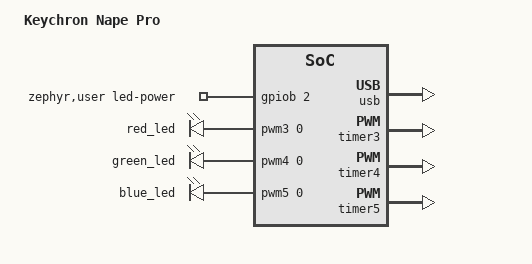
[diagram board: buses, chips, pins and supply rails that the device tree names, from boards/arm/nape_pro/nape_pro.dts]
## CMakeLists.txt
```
cmake_minimum_required(VERSION 3.20)
list(APPEND BOARD_ROOT ${CMAKE_CURRENT_SOURCE_DIR})
find_package(Zephyr REQUIRED HINTS $ENV{ZEPHYR_BASE})
project(nape_maintenance)
zephyr_include_directories(include)
target_sources(app PRIVATE src/main.c src/service.c src/indicator.c src/indicator_color.c
  src/input_engine.c)
if(NAPE_MAIN)
  target_compile_definitions(app PRIVATE NAPE_MAIN=1)
  target_include_directories(app PRIVATE drivers/vendor)
  target_sources(app PRIVATE src/profile_config.c src/config_store.c src/profile_history.c src/runtime.c src/motion_processor.c
    src/report_transport.c drivers/board_input.c drivers/paw3222.c drivers/vendor/rtl_spi3w.c)
endif()
if(CONFIG_REALTEK_PPT)
  set(RF_VENDOR ${CMAKE_CURRENT_SOURCE_DIR}/radio/vendor/realtek)
  target_sources(app PRIVATE radio/radio_link.c radio/stock_codec.c
    ${RF_VENDOR}/common/ppt_driver.c ${RF_VENDOR}/simple/ppt_simple.c)
  target_include_directories(app PRIVATE radio ${RF_VENDOR}/common
    ${RF_VENDOR}/common/rtl87x2g ${RF_VENDOR}/simple)
  target_compile_definitions(app PRIVATE CONFIG_PPT_DRIVER_LOG_LEVEL=0)
endif()
```

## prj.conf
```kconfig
CONFIG_USB_DEVICE_STACK=y
CONFIG_USB_DEVICE_HID=y
CONFIG_ENABLE_HID_INT_OUT_EP=y
CONFIG_HID_INTERRUPT_EP_MPS=64
CONFIG_USB_HID_POLL_INTERVAL_MS=1
CONFIG_USB_DEVICE_VID=0x3434
CONFIG_USB_DEVICE_PID=0x0440
CONFIG_USB_DEVICE_PRODUCT="Nape Pro Maintenance"
CONFIG_USB_DEVICE_MANUFACTURER="Nape custom firmware"
CONFIG_USB_DEVICE_INITIALIZE_AT_BOOT=n
CONFIG_FLASH=y
CONFIG_PWM=y
CONFIG_GPIO=y
CONFIG_TINYCRYPT=y
CONFIG_TINYCRYPT_SHA256=y
CONFIG_BT=n
CONFIG_REALTEK_BT=n
CONFIG_USB_DEVICE_SN="NapeMaintenance01"
CONFIG_SETTINGS=n
CONFIG_NVS=n
CONFIG_CONSOLE=n
CONFIG_MAIN_STACK_SIZE=6144
CONFIG_SYSTEM_WORKQUEUE_STACK_SIZE=2048
CONFIG_HEAP_MEM_POOL_SIZE=8192
```

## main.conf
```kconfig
CONFIG_USB_HID_DEVICE_COUNT=2
CONFIG_USB_DEVICE_PRODUCT="Nape Pro Custom"
CONFIG_USB_DEVICE_SN="NapeCustomMain01"
CONFIG_SYS_CLOCK_TICKS_PER_SEC=1000
```

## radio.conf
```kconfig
CONFIG_REALTEK_PPT=y
CONFIG_REALTEK_USING_PPT_SYNC_SKN=n
CONFIG_REALTEK_USING_PPT_SYNC_MASTER=n
CONFIG_LOG=y
CONFIG_LOG_MODE_DEFERRED=y
CONFIG_LOG_BUFFER_SIZE=512
CONFIG_MINIMAL_LIBC_RAND=y
```

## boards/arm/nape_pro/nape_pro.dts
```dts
/dts-v1/;
#include <realtek/rtl87x2g.dtsi>
#include <zephyr/dt-bindings/pwm/pwm.h>
#include <zephyr/dt-bindings/gpio/gpio.h>
/ {
    zephyr,user {
        /* Stock LED init/output path: GPIOB bit 2, physical pad P3_5. */
        led-power-gpios = <&gpiob 2 GPIO_ACTIVE_HIGH>;
    };
    leds {
        compatible = "pwm-leds";
        red_led: red { pwms = <&pwm3 0 250000 PWM_POLARITY_INVERTED>; };
        green_led: green { pwms = <&pwm4 0 250000 PWM_POLARITY_INVERTED>; };
        blue_led: blue { pwms = <&pwm5 0 250000 PWM_POLARITY_INVERTED>; };
    };
    model = "Keychron Nape Pro";
    compatible = "keychron,nape-pro";
    chosen {
        zephyr,sram = &ram_data;
        zephyr,flash = &flash;
        zephyr,itcm = &ram_code;
        zephyr,code-partition = &app_partition;
        zephyr,flash-controller = &fmc;
    };
};
&cpu { clock-frequency = <40000000>; };
&usb { status = "okay"; };
&gpiob { status = "okay"; };
&gpioa { status = "okay"; };
&pinctrl {
    led_pwm3: led-pwm3 {
        group1 { psels = <RTL87X2G_PSEL(TIMER_PWM3, P0_4, DIR_OUT, DRV_LOW, PULL_DOWN)>; };
    };
    led_pwm4: led-pwm4 {
        group1 { psels = <RTL87X2G_PSEL(TIMER_PWM4, P1_0, DIR_OUT, DRV_LOW, PULL_DOWN)>; };
    };
    led_pwm5: led-pwm5 {
        group1 { psels = <RTL87X2G_PSEL(TIMER_PWM5, P1_1, DIR_OUT, DRV_LOW, PULL_DOWN)>; };
    };
};
&timer3 {
    status = "okay";
    prescaler = <1>;
    pwm3: pwm3 {
        status = "okay";
        pinctrl-0 = <&led_pwm3>;
        pinctrl-names = "default";
    };
};
&timer4 {
    status = "okay";
    prescaler = <1>;
    pwm4: pwm4 {
        status = "okay";
        pinctrl-0 = <&led_pwm4>;
        pinctrl-names = "default";
    };
};
&timer5 {
    status = "okay";
    prescaler = <1>;
    pwm5: pwm5 {
        status = "okay";
        pinctrl-0 = <&led_pwm5>;
        pinctrl-names = "default";
    };
};
&flash {
    partitions {
        compatible = "fixed-partitions";
        #address-cells = <1>;
        #size-cells = <1>;
        app_partition: partition@2d000 { label = "application"; reg = <0x2d000 0x5c000>; };
        journal: partition@89000 { label = "migration"; reg = <0x89000 0x1000>; };
        staging: partition@9c000 { label = "ota"; reg = <0x9c000 0x59000>; };
        userdata: partition@f5000 { label = "userdata"; reg = <0xf5000 0xb000>; };
    };
};
```

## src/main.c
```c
#include "indicator.h"
#include "service.h"
#include <flash_nor_device.h>
#include <patch_header_check.h>
#include <string.h>
#include <wdt/inc/rtl_wdt.h>
#include <zephyr/kernel.h>
#include <zephyr/usb/class/usb_hid.h>
#include <zephyr/usb/usb_device.h>
#ifdef NAPE_MAIN
#include "board_input.h"
#include "runtime.h"
static bool recovery_mode;
#endif
#if defined(CONFIG_UART_CONSOLE)
#include <zephyr/sys/printk.h>
#define BOOT_LOG(...) printk(__VA_ARGS__)
#else
#define BOOT_LOG(...) ((void)0)
#endif

#define FLASH_BASE 0x04000000u
/* Realtek boot ROM entry used by the stock updater for activation. */
extern void chip_reset(WDTMode_TypeDef mode);
static bool layout_matches;
static const uint8_t descriptor[] = {
    0x06, 0x5d, 0xff, 0x09, 1, 0xa1, 1, 0x15, 0, 0x26, 0xff, 0,   0x75,
    8,    0x95, 64,   0x09, 2, 0x81, 2, 0x09, 3, 0x91, 2,    0xc0};
K_MSGQ_DEFINE(requests, sizeof(struct packet), 2, 4);
K_SEM_DEFINE(sent, 0, 1);
static atomic_t epoch;
bool board_layout_ok(void) { return layout_matches; }
static bool inside(uint32_t a, size_t n, uint32_t base, uint32_t size) {
  return a >= base && a - base < size && n <= size - (a - base);
}
static bool permitted(uint32_t a, size_t n) {
  return inside(a, n, JOURNAL, SECTOR) || inside(a, n, USER_BASE, USER_LEN) ||
         inside(a, n, OTA_BASE, OTA_LEN);
}
bool board_read(uint32_t a, void *out, size_t n) {
  return permitted(a, n) &&
         flash_nor_read_locked(FLASH_BASE + a, out, n) == FLASH_NOR_RET_SUCCESS;
}
bool board_write(uint32_t a, const void *input, size_t n) {
  if (!layout_matches || !permitted(a, n))
    return false;
  const uint8_t *src = input;
  uint8_t data[256], verify[256];
  while (n) {
    size_t count = MIN(n, 256u - (a & 255u));
    memcpy(data, src, count); /* ROM writer requires a RAM source. */
    if (flash_nor_write_locked(FLASH_BASE + a, data, count) !=
            FLASH_NOR_RET_SUCCESS ||
        !board_read(a, verify, count) || memcmp(data, verify, count))
      return false;
    a += count;
    src += count;
    n -= count;
  }
  return true;
}
bool board_erase(uint32_t a) {
  if (!layout_matches || (a & (SECTOR - 1)) || !permitted(a, SECTOR))
    return false;
  unsigned key = irq_lock();
  FLASH_NOR_RET_TYPE rc =
      flash_nor_erase_locked(FLASH_BASE + a, FLASH_NOR_ERASE_SECTOR);
  irq_unlock(key);
  if (rc != FLASH_NOR_RET_SUCCESS)
    return false;
  uint8_t check[256];
  for (size_t i = 0; i < SECTOR; i += sizeof(check)) {
    if (!board_read(a + i, check, sizeof(check)))
      return false;
    for (size_t k = 0; k < sizeof(check); k++)
      if (check[k] != 0xff)
        return false;
  }
  return true;
}
static void received(const struct device *dev) {
  struct packet p;
  uint32_t count = 0;
  if (!hid_int_ep_read(dev, (uint8_t *)&p, sizeof(p), &count) &&
      count == sizeof(p))
    k_msgq_put(&requests, &p, K_NO_WAIT);
}
static void transmitted(const struct device *dev) {
  ARG_UNUSED(dev);
  k_sem_give(&sent);
}
static void usb_status(enum usb_dc_status_code status, const uint8_t *param) {
  ARG_UNUSED(param);
#ifdef NAPE_MAIN
  if (status == USB_DC_CONFIGURED)
    nape_runtime_usb(true);
  if (status == USB_DC_RESET || status == USB_DC_DISCONNECTED)
    nape_runtime_usb(false);
#endif
  if (status == USB_DC_RESET || status == USB_DC_DISCONNECTED) {
    atomic_inc(&epoch);
    k_msgq_purge(&requests);
  }
}
static const struct hid_ops ops = {.int_out_ready = received,
                                   .int_in_ready = transmitted};
int main(void) {
#ifdef NAPE_MAIN
  recovery_mode = nape_recovery_chord();
  if (recovery_mode)
    nape_runtime_recovery();
#endif
  BOOT_LOG("NAPE main: checking ROM layout\n");
  layout_matches = supported_layout(
      is_ota_support_bank_switch(), get_header_addr_by_img_id(IMG_MCUAPP),
      get_active_bank_image_size_by_img_id(IMG_MCUAPP),
      flash_nor_get_bank_addr(FLASH_OTA_TMP),
      flash_nor_get_bank_size(FLASH_OTA_TMP),
      flash_nor_get_bank_addr(FLASH_FTL));
  BOOT_LOG("NAPE layout match=%d; inspecting settings\n", layout_matches);
  service_boot();
  enum state storage = service_storage_state();
  BOOT_LOG("NAPE storage=%d; starting indicator and HID\n", storage);
  indicator_set(storage);
#ifdef NAPE_MAIN
  if (recovery_mode)
    indicator_recovery();
  int input_rc = nape_mouse_usb_init();
  if (input_rc) {
    recovery_mode = true;
    nape_runtime_recovery();
    indicator_recovery();
  }
#endif
  const struct device *hid = device_get_binding("HID_0");
  if (!hid) {
    BOOT_LOG("NAPE HID_0 missing\n");
    return -ENODEV;
  }
  usb_hid_register_device(hid, descriptor, sizeof(descriptor), &ops);
  int rc = usb_hid_init(hid);
  BOOT_LOG("NAPE hid_init=%d\n", rc);
  if (rc)
    return rc;
  rc = usb_enable(usb_status);
  BOOT_LOG("NAPE usb_enable=%d\n", rc);
  if (rc)
    return rc;
#ifdef NAPE_MAIN
  if (!recovery_mode && storage == OWNED)
    nape_runtime_start();
#endif
  struct packet p, r, previous = {0}, cached = {0};
  atomic_val_t last_epoch = atomic_get(&epoch);
  for (;;) {
#ifdef NAPE_MAIN
    if (service_idle() && !nape_config_transfer_active())
      nape_runtime_poll();
#endif
    if (k_msgq_get(&requests, &p, K_MSEC(100)))
      continue;
    if (last_epoch != atomic_get(&epoch)) {
      service_reset();
      previous.version = 0;
      last_epoch = atomic_get(&epoch);
    }
    bool live_read = p.op == INFO;
#ifdef NAPE_MAIN
    live_read |= p.op == 0x30 || p.op == 0x31;
#endif
#ifdef CONFIG_REALTEK_PPT
    live_read |= p.op == 0x20 || p.op == 0x25 || p.op == 0x27;
#endif
    if (!live_read && previous.version && !memcmp(&p, &previous, sizeof(p)))
      r = cached;
    else {
      service_handle(&p, &r);
#ifdef NAPE_MAIN
      if (r.status == OK && (p.op == FW_BEGIN || p.op == RESTORE_BEGIN ||
                            p.op == RESTORE_BEGIN_OVERRIDE))
        nape_runtime_pause();
#endif
      if (p.op == ADOPT || p.op == RESTORE_END)
        indicator_set(service_storage_state());
#ifdef NAPE_MAIN
      if (p.op == ADOPT && r.status == OK && !recovery_mode)
        nape_runtime_start();
#endif
      previous = p;
      cached = r;
    }
    k_sem_reset(&sent);
    uint32_t n;
    if (!hid_int_ep_write(hid, (uint8_t *)&r, sizeof(r), &n) && n == sizeof(r))
      k_sem_take(&sent, K_SECONDS(1));
    if ((p.op == FW_ACTIVATE
#ifdef CONFIG_REALTEK_PPT
         || p.op == 0x26
#endif
         ) &&
        r.status == OK) {
      k_msleep(50);
      chip_reset(RESET_ALL);
    }
  }
}
```

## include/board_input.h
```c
#pragma once
#include <stdbool.h>
#include <stdint.h>
int nape_buttons_init(void);
bool nape_recovery_chord(void);
uint8_t nape_buttons_read(void);
bool nape_radio_switch(void);
int nape_ring_read(void);
int nape_sensor_init(void);
int nape_sensor_dpi(uint16_t dpi);
int nape_sensor_read(int16_t *x, int16_t *y);
uint8_t nape_sensor_id(void);
```

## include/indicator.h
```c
#pragma once
#include "service.h"

void indicator_set(enum state state);
void indicator_rgb(const uint8_t rgb[3], bool blink);
void indicator_recovery(void);
void indicator_calibrate(uint8_t gamma, const uint8_t gains[3], uint8_t brightness);
void indicator_color(enum state state, uint32_t elapsed_ms, uint8_t rgb[3]);
```

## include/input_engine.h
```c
#pragma once
#include <stdbool.h>
#include <stdint.h>

/* Logical buttons, after board mapping/debounce. No GPIO or transport IDs. */
#define NAPE_PROFILES 8
#define NAPE_LAYERS 8 /* base + seven overlays; higher active layer wins */
#define NAPE_BUTTONS 7
#define NAPE_SCROLL_COUNTS_DEFAULT 16u

/* Motion action value: mode in low 16 bits, counts per detent in high 16.
 * Zero counts inherits the active layer. Pointer actions use zero counts. */
static inline uint16_t nape_motion_mode(uint32_t value) {
  return value & 0xffff;
}
static inline uint16_t nape_motion_counts(uint32_t value) {
  return value >> 16;
}
static inline uint32_t nape_motion_value(uint16_t mode, uint16_t counts) {
  return mode | (uint32_t)counts << 16;
}

enum nape_binding_kind {
  NAPE_TRANSPARENT,
  NAPE_DISABLED,
  NAPE_OUTPUT,
  NAPE_LAYER_HOLD,
  NAPE_LAYER_RELEASE,
  NAPE_SET_DPI,
  NAPE_SET_MOTION,
  NAPE_SET_LED,
  NAPE_RESET_OVERRIDES,
  NAPE_LAYER_TOGGLE,
  NAPE_PRESS_OUTPUT,
  NAPE_HOLD_DPI,
  NAPE_HOLD_MOTION,
  NAPE_HOLD_LED,
  NAPE_LAYER_RELEASE_DPI,
  NAPE_LAYER_RELEASE_MOTION,
  NAPE_LAYER_RELEASE_LED,
  NAPE_LAYER_RELEASE_RESET,
  NAPE_REPEAT_OUTPUT
};
enum nape_motion_mode {
  NAPE_INHERIT,
  NAPE_POINTER,
  NAPE_SCROLL,
  NAPE_NONE
};
struct nape_binding {
  uint8_t kind, layer;
  uint16_t output; /* action ID, or unused-release action; 0 = none */
  uint32_t value;  /* DPI, motion mode, or 0xRRGGBB for setter actions */
};
struct nape_layer {
  struct nape_binding button[NAPE_BUTTONS];
  uint16_t dpi;        /* 0 inherits from lower layer */
  uint8_t motion;      /* NAPE_INHERIT inherits */
  uint8_t orientation; /* 0 inherits; 1=0, 2=90, 3=180, 4=270 degrees CW */
  bool led_override;
  uint8_t rgb[3];
  uint16_t
      wheel[2]; /* CW/CCW: 0 inherit, 0x7fff disabled, otherwise tap action */
  uint16_t scroll_counts; /* counts per wheel detent; 0 inherits */
};
struct nape_profile {
  char name[24];
  bool disabled; /* unused slot; legacy configurations enable every profile */
  uint8_t rgb[3];
  uint16_t
      report_hz; /* requested rate; transport/sensor must validate support */
  uint16_t
      selector_tap; /* action when selector is tapped without other input */
  struct nape_layer layer[NAPE_LAYERS];
};
struct nape_input_config {
  uint8_t selector_button;
  struct nape_profile profile[NAPE_PROFILES];
};
enum nape_input_event_kind {
  NAPE_ACTION_DOWN,
  NAPE_ACTION_UP,
  NAPE_WHEEL,
  NAPE_MOTION,
  NAPE_PROFILE_PREVIEW,
  NAPE_PROFILE_COMMIT,
  NAPE_CONTEXT_CHANGED
};
struct nape_input_event {
  uint8_t kind, profile;
  uint16_t code;
  int32_t x, y;
};
struct nape_motion_settings {
  uint16_t dpi, report_hz;
  uint8_t mode, orientation;
};
typedef void (*nape_input_emit)(void *, const struct nape_input_event *);
struct nape_held_binding {
  struct nape_binding binding;
  uint32_t at, order;
  bool used;
};
struct nape_input {
  const struct nape_input_config *config;
  nape_input_emit emit;
  void *context;
  struct nape_held_binding held[NAPE_BUTTONS];
  uint8_t profile, preview, physical, suppressed, layer_refs[NAPE_LAYERS];
  uint32_t selector_at;
  uint32_t order;
  bool selector_used, selecting;
  uint8_t toggled;
  uint16_t override_dpi;
  uint8_t override_motion;
  uint16_t override_scroll_counts;
  bool override_led;
  uint8_t led_rgb[3];
};

/* Single-threaded caller; config remains immutable/alive; callbacks must not
 * reenter. This module never allocates, writes flash, or sends HID itself. */
bool nape_input_init(struct nape_input *, const struct nape_input_config *,
                     uint8_t initial_profile, nape_input_emit, void *context);
void nape_input_button(struct nape_input *, uint8_t button, bool down,
                       uint32_t now_ms);
void nape_input_wheel(struct nape_input *, int32_t detents);
void nape_input_tick(struct nape_input *, uint32_t now_ms);
void nape_input_motion(struct nape_input *, int32_t x, int32_t y);
struct nape_motion_settings
nape_input_motion_settings(const struct nape_input *);
void nape_input_color(const struct nape_input *, uint8_t rgb[3]);
uint16_t nape_input_scroll_counts(const struct nape_input *);
/* Release outputs before changing profile; held physical buttons are ignored
 * until released. Also useful when replacing settings or losing a transport. */
void nape_input_cancel(struct nape_input *);
bool nape_input_select_profile(struct nape_input *, uint8_t profile);
```

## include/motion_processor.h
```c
#pragma once
#include <stdint.h>
/* Transport-neutral wheel units: 120 per detent. Fractional sensor counts are
 * retained between samples. Future gesture/dial processors belong here. */
struct nape_motion_processor {
  int32_t remainder_x, remainder_y;
  uint16_t counts;
  uint8_t mode;
};
struct nape_motion_output {
  int32_t x, y, wheel, pan;
};
struct nape_motion_output nape_motion_process(struct nape_motion_processor *,
                                              uint8_t mode, uint16_t counts,
                                              int16_t x, int16_t y);
```

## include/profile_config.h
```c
#pragma once
#include "input_engine.h"
#include "service.h"
#define NAPE_CONFIG_VERSION 2u
#define NAPE_START_LAST 255u
#define NAPE_CONFIG_SIZE (32u + 8u * (32u + 8u * 72u))
struct nape_config {
  struct nape_input_config input;
  uint8_t initial_profile, transport, bond[12];
  uint16_t debounce_ms;
  /* gamma in tenths; zero selects default correction. Gains/brightness in %. */
  uint8_t led_gamma, led_gain[3], led_brightness;
};
bool nape_config_decode(struct nape_config *, const uint8_t *, size_t);
void nape_config_encode(uint8_t *, const struct nape_config *);
void nape_config_default(struct nape_config *);
uint32_t nape_crc32(const void *, size_t);
bool nape_config_load(struct nape_config *);
uint32_t nape_config_generation(void);
bool nape_config_transfer_active(void);
int nape_profile_history_load(uint32_t generation);
bool nape_profile_history_save(uint8_t profile, uint32_t generation);
int nape_config_command(const struct packet *, struct packet *);
```

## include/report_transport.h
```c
#pragma once
#include <stdbool.h>
#include <stdint.h>
int nape_mouse_usb_init(void);
void nape_reports_usb(bool configured);
bool nape_usb_ready(void);
bool nape_usb_mouse(uint8_t buttons, int16_t x, int16_t y, int16_t wheel,
                    int16_t pan);
bool nape_usb_keyboard(const uint8_t report[8]);
bool nape_usb_consumer(uint8_t buttons);
unsigned nape_usb_scroll_multiplier(unsigned axis);
bool nape_radio_start(const uint8_t bond[12]);
bool nape_radio_connected(void);
void nape_radio_stop(void);
bool nape_radio_mouse(uint8_t buttons, int16_t x, int16_t y, int8_t wheel,
                      int8_t pan);
```

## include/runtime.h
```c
#pragma once
#include "profile_config.h"
void nape_runtime_start(void);
void nape_runtime_poll(void);
void nape_runtime_recovery(void);
bool nape_runtime_is_recovery(void);
void nape_runtime_apply(const struct nape_config *);
void nape_runtime_preview(const struct nape_config *, bool enabled,
                          uint8_t profile);
void nape_runtime_pause(void);
void nape_runtime_usb(bool configured);
void nape_runtime_status(uint8_t out[48]);
int nape_mouse_usb_init(void);
```

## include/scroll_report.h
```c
#ifndef NAPE_SCROLL_REPORT_H
#define NAPE_SCROLL_REPORT_H
#include <stdbool.h>
#include <stdint.h>

/* Independent 250 Hz axes, immediate first report after idle. Never put two
 * nonzero scroll axes in the same report: Windows exposes one wheel delta per
 * mouse input packet. Alternate when both are ready, retaining all remainders. */
#define NAPE_SCROLL_INTERVAL_MS 4u
struct nape_scroll_report {
  uint32_t last_sent[2];
  uint8_t sent;
  bool next_pan;
};
static inline int16_t nape_scroll_delta(int32_t pending, unsigned multiplier,
                                        bool radio) {
  /* Keep division signed: negative low-resolution deltas must not become
   * enormous positive scroll reports through unsigned integer promotion. */
  int32_t value = pending / (120 / (int32_t)multiplier);
  int32_t limit = radio ? 127 : 32767;
  return value > limit ? limit : value < -limit ? -limit : value;
}
static inline bool nape_scroll_due(const struct nape_scroll_report *s,
                                  unsigned axis, uint32_t now) {
  return !(s->sent & (1u << axis)) ||
         (uint32_t)(now - s->last_sent[axis]) >= NAPE_SCROLL_INTERVAL_MS;
}
static inline void nape_scroll_select(const struct nape_scroll_report *s,
                                     uint32_t now, int16_t *wheel, int16_t *pan) {
  if (!nape_scroll_due(s, 0, now)) *wheel = 0;
  if (!nape_scroll_due(s, 1, now)) *pan = 0;
  if (*wheel && *pan) {
    if (s->next_pan) *wheel = 0;
    else *pan = 0;
  }
}
static inline void nape_scroll_sent(struct nape_scroll_report *s, uint32_t now,
                                   int16_t wheel, int16_t pan) {
  if (!wheel && !pan) return;
  unsigned axis = pan ? 1 : 0;
  s->sent |= 1u << axis;
  s->last_sent[axis] = now;
  s->next_pan = !axis;
}
#endif
```

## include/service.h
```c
#pragma once
#include <stdbool.h>
#include <stddef.h>
#include <stdint.h>

/* All addresses are relative offsets in the trackball's main NOR flash. */
#define SECTOR 4096u
#define USER_BASE 0xf5000u
#define USER_LEN 0xb000u
#define JOURNAL 0x89000u
#define OTA_BASE 0x9c000u
#define OTA_LEN 0x59000u
#define RESTORE_OVERRIDE_CONFIRM 0x4f4c4442u /* explicit older-backup consent */
#define FAMILY "NAPE-MAINT/v1"
enum state { PROTECTED, FORMATTING, OWNED, RESTORING, RESTORED, CONFLICT };
enum op {
  INFO = 1,
  READ_USER,
  ADOPT,
  RESTORE_BEGIN,
  RESTORE_DATA,
  RESTORE_END,
  FW_BEGIN,
  FW_DATA,
  FW_CHECK,
  FW_ACTIVATE,
  SNAPSHOT_HASH,
  RESTORE_BEGIN_OVERRIDE
};
enum result {
  OK,
  BAD_PACKET,
  BAD_STATE,
  WRONG_DIGEST,
  IO_ERROR,
  WRONG_IMAGE,
  BAD_POSITION,
  WRONG_LAYOUT,
  JOURNAL_BUSY
};
struct packet {
  uint8_t magic[2], version, op;
  uint32_t session, offset;
  uint8_t len, status, reserved[2], data[48];
};
_Static_assert(sizeof(struct packet) == 64 &&
                   offsetof(struct packet, data) == 16,
               "wire layout");
/* Platform operations run on one thread. Writes and erases must verify
 * readback. */
bool board_read(uint32_t addr, void *out, size_t len);
bool board_write(uint32_t addr, const void *in, size_t len);
bool board_erase(uint32_t sector);
bool board_layout_ok(void);
bool supported_layout(bool bank_switch, uint32_t app_address,
                      uint32_t app_length, uint32_t ota_address,
                      uint32_t ota_length, uint32_t ftl_address);
void service_reset(void);
bool service_idle(void);
void service_boot(void);
enum state service_storage_state(void);
void service_handle(const struct packet *in, struct packet *out);
```

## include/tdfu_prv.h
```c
#pragma once
/* Used by the Keychron Zephyr image header. */
#define MY_FWU_STRING_NAME "KCZKNAPE"
```

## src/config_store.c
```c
/* Two independently verified slots. The ownership superblock is never changed.
 */
#include "profile_config.h"
#include "runtime.h"
#include <string.h>
#define SLOT_SIZE 0x2000u
#define SLOT0 (USER_BASE + SECTOR)
extern uint8_t *service_scratch(void);
#define staging (service_scratch())
extern struct nape_config *service_config_candidate(void);
#define candidate (*service_config_candidate())
_Static_assert(8192 + sizeof(struct nape_config) <= USER_LEN,
               "shared scratch capacity");
static uint32_t token, next, wanted_crc, generation;
static int current = -1;
static bool preview_transfer;
static uint8_t preview_profile;
uint32_t nape_config_generation(void) { return generation; }
bool nape_config_transfer_active(void) { return token != 0; }
static uint32_t rd(const uint8_t *p) {
  return p[0] | ((uint32_t)p[1] << 8) | ((uint32_t)p[2] << 16) |
         ((uint32_t)p[3] << 24);
}
static void wr(uint8_t *p, uint32_t n) {
  for (unsigned i = 0; i < 4; i++)
    p[i] = n >> (i * 8);
}
void nape_config_reset_transfer(void) { token = next = 0; }
static bool read_slot(unsigned slot, uint32_t *gen) {
  uint32_t base = SLOT0 + slot * SLOT_SIZE;
  uint8_t h[32];
  if (!board_read(base, h, 32) || memcmp(h, "NPCOM001", 8) ||
      rd(h + 12) != NAPE_CONFIG_SIZE || rd(h + 20) != nape_crc32(h + 8, 12) ||
      !board_read(base + 32, staging, NAPE_CONFIG_SIZE) ||
      rd(h + 16) != nape_crc32(staging, NAPE_CONFIG_SIZE) ||
      !nape_config_decode(&candidate, staging, NAPE_CONFIG_SIZE))
    return false;
  *gen = rd(h + 8);
  return true;
}
bool nape_config_load(struct nape_config *out) {
  current = -1;
  generation = 0;
  nape_config_default(out);
  if (service_storage_state() != OWNED)
    return false;
  for (unsigned slot = 0; slot < 2; slot++) {
    uint32_t g;
    if (read_slot(slot, &g) && (current < 0 || (int32_t)(g - generation) > 0)) {
      current = slot;
      generation = g;
    }
  }
  if (current >= 0) {
    uint32_t g;
    if (!read_slot(current, &g))
      return false;
    *out = candidate;
  }
  return current >= 0;
}
int nape_config_command(const struct packet *p, struct packet *r) {
  if (p->op == 0x30) {
    if (p->len || p->offset)
      return BAD_PACKET;
    nape_runtime_status(r->data);
    wr(r->data + 32, NAPE_CONFIG_SIZE);
    wr(r->data + 36, generation);
    r->len = 48;
    return OK;
  }
  if (service_storage_state() != OWNED || nape_runtime_is_recovery())
    return BAD_STATE;
  if (p->op == 0x31) {
    if (p->len != 1 || !p->data[0] || p->data[0] > 48 ||
        p->offset >= NAPE_CONFIG_SIZE ||
        p->data[0] > NAPE_CONFIG_SIZE - p->offset || token)
      return BAD_PACKET;
    if (current < 0) {
      nape_config_default(&candidate);
      nape_config_encode(staging, &candidate);
    } else if (!board_read(SLOT0 + current * SLOT_SIZE + 32, staging,
                           NAPE_CONFIG_SIZE))
      return IO_ERROR;
    memcpy(r->data, staging + p->offset, p->data[0]);
    r->len = p->data[0];
    return OK;
  }
  if (p->op == 0x32 || p->op == 0x36) {
    if (p->offset != NAPE_CONFIG_SIZE ||
        (p->len != 4 && !(p->op == 0x36 && p->len == 5)))
      return BAD_PACKET;
    preview_transfer = p->op == 0x36;
    preview_profile = p->len == 5 ? p->data[4] : 255;
    if (preview_profile != 255 && preview_profile >= NAPE_PROFILES)
      return BAD_PACKET;
    if (!preview_transfer)
      nape_runtime_pause();
#ifdef CONFIG_REALTEK_PPT
    extern bool radio_probe_busy(void);
    if (!preview_transfer && radio_probe_busy())
      return BAD_STATE;
#endif
    token = p->session;
    next = 0;
    wanted_crc = rd(p->data);
    return OK;
  }
  if (p->op == 0x35) {
    if (p->len || p->offset)
      return BAD_PACKET;
    nape_config_reset_transfer();
    nape_config_load(&candidate);
    nape_runtime_apply(&candidate);
    return OK;
  }
  if (p->op == 0x38) {
    if (p->len || p->offset)
      return BAD_PACKET;
    nape_config_reset_transfer();
    nape_config_load(&candidate);
    nape_runtime_preview(&candidate, false, 255);
    return OK;
  }
  if (!token || token != p->session)
    return BAD_STATE;
  if (p->op == 0x33) {
    if (!p->len || p->offset != next || p->len > NAPE_CONFIG_SIZE - next)
      return BAD_POSITION;
    memcpy(staging + next, p->data, p->len);
    next += p->len;
    return OK;
  }
  if (p->op != (preview_transfer ? 0x37 : 0x34) || p->len || p->offset)
    return BAD_PACKET;
  if (next != NAPE_CONFIG_SIZE || nape_crc32(staging, next) != wanted_crc)
    return WRONG_DIGEST;
  if (!nape_config_decode(&candidate, staging, next))
    return BAD_PACKET;
  if (preview_transfer) {
    nape_runtime_preview(&candidate, true, preview_profile);
    wr(r->data, wanted_crc);
    r->len = 4;
    nape_config_reset_transfer();
    return OK;
  }
  unsigned slot = current == 0 ? 1 : 0;
  uint32_t base = SLOT0 + slot * SLOT_SIZE;
  uint8_t h[32] = {0};
  memcpy(h, "NPCOM001", 8);
  wr(h + 8, generation + 1);
  wr(h + 12, NAPE_CONFIG_SIZE);
  wr(h + 16, wanted_crc);
  wr(h + 20, nape_crc32(h + 8, 12));
  for (unsigned off = 0; off < SLOT_SIZE; off += SECTOR)
    if (!board_erase(base + off))
      return IO_ERROR;
  if (!board_write(base + 32, staging, next) ||
      !board_write(base + 8, h + 8, 24) || !board_write(base, h, 8))
    return IO_ERROR;
  uint32_t g;
  if (!read_slot(slot, &g))
    return IO_ERROR;
  current = slot;
  generation = g;
  nape_config_reset_transfer();
  nape_runtime_apply(&candidate);
  return OK;
}
```
